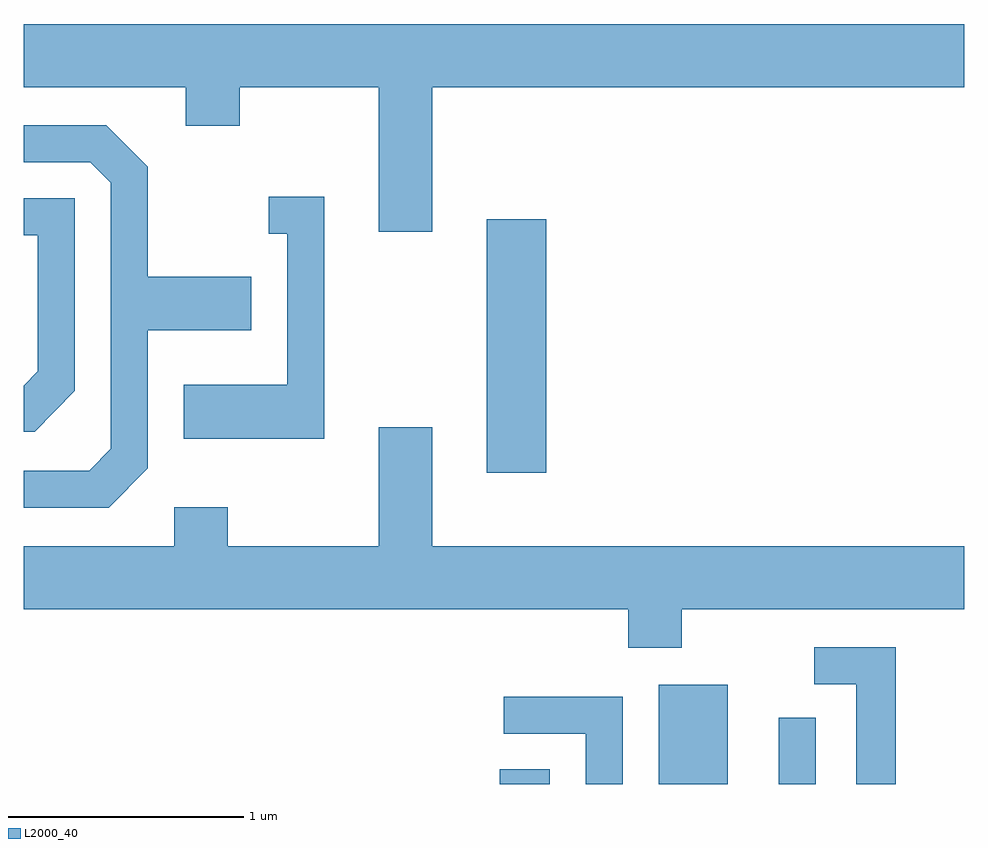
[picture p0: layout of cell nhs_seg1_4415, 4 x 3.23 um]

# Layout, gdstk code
import gdstk
lib = gdstk.Library(unit=1e-6, precision=1e-09)
def R(c, l, rs):  # rectangles x0, y0, x1, y1
    for r in rs: c.add(gdstk.rectangle(r[:2], r[2:], *l))
def P(c, l, *ps):  # polygons
    for p in ps: c.add(gdstk.Polygon(p, *l))
L2000_40 = (2000, 40)

nhs_seg1_4415 = lib.new_cell('nhs_seg1_4415')
R(nhs_seg1_4415, L2000_40, [(319.636,907.712,319.849,907.774), (320.311,907.712,320.604,908.134), (320.821,907.712,320.979,907.993), (319.581,909.036,319.834,910.114)])
P(nhs_seg1_4415, L2000_40, [(319.349,910.676),(321.611,910.676),(321.611,910.944),(317.611,910.944),(317.611,910.676),(318.301,910.676),(318.301,910.511),(318.529,910.511),(318.529,910.676),(319.121,910.676),(319.121,910.061),(319.349,910.061)],
  [(318.139,909.054),(318.139,909.641),(318.579,909.641),(318.579,909.869),(318.139,909.869),(318.139,910.337),(317.962,910.514),(317.611,910.514),(317.611,910.356),(317.894,910.356),(317.981,910.269),(317.981,909.137),(317.889,909.044),(317.611,909.044),(317.611,908.886),(317.972,908.886)],
  [(318.889,910.209),(318.653,910.209),(318.653,910.051),(318.731,910.051),(318.731,909.409),(318.291,909.409),(318.291,909.181),(318.889,909.181)],
  [(317.829,909.384),(317.829,910.204),(317.611,910.204),(317.611,910.046),(317.671,910.046),(317.671,909.467),(317.611,909.406),(317.611,909.211),(317.657,909.211)],
  [(319.349,909.229),(319.121,909.229),(319.121,908.724),(318.479,908.724),(318.479,908.889),(318.251,908.889),(318.251,908.724),(317.611,908.724),(317.611,908.456),(320.181,908.456),(320.181,908.291),(320.409,908.291),(320.409,908.456),(321.611,908.456),(321.611,908.724),(319.349,908.724)],
  [(321.319,908.294),(320.973,908.294),(320.973,908.136),(321.151,908.136),(321.151,907.712),(321.319,907.712)],
  [(320.159,908.084),(319.653,908.084),(319.653,907.926),(320.001,907.926),(320.001,907.712),(320.159,907.712)])

lib.write_gds('nhs_seg1_4415.gds')
